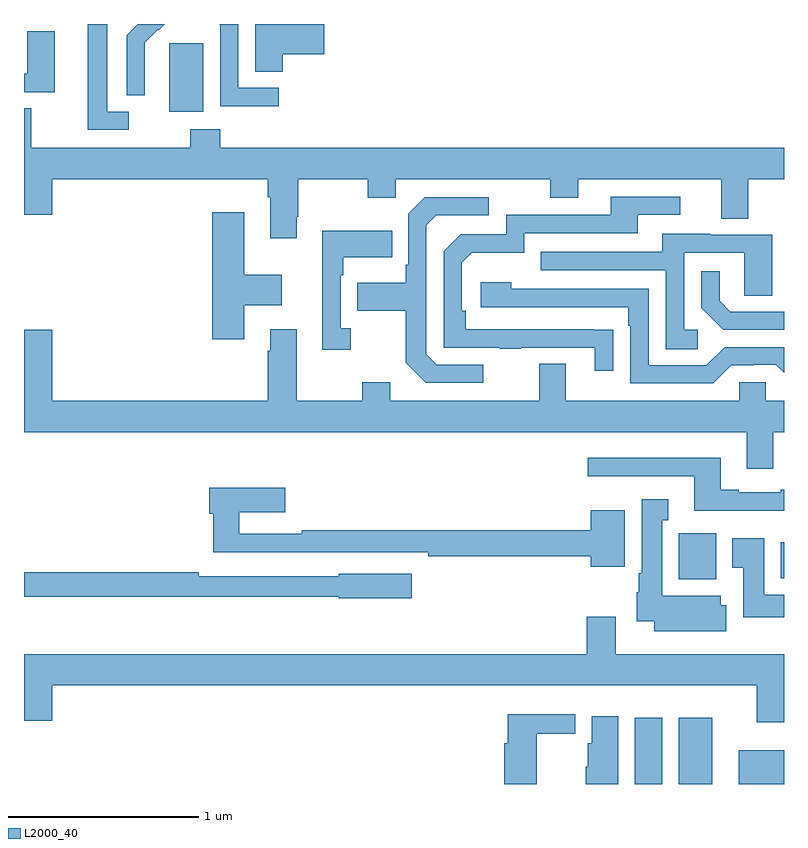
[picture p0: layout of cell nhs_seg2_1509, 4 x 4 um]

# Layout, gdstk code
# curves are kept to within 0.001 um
import gdstk
lib = gdstk.Library(unit=1e-6, precision=1e-09)
def R(c, l, rs):  # rectangles x0, y0, x1, y1
    for r in rs: c.add(gdstk.rectangle(r[:2], r[2:], *l))
def P(c, l, *ps):  # polygons
    for p in ps: c.add(gdstk.Polygon(p, *l))
L2000_40 = (2000, 40)

nhs_seg2_1509 = lib.new_cell('nhs_seg2_1509')
R(nhs_seg2_1509, L2000_40, [(192.215,629.8,192.358,630.148), (192.446,629.8,192.622,630.148), (192.761,629.8,193,629.977), (192.446,630.878,192.643,631.12), (192.983,630.884,193,631.072), (189.764,633.338,189.943,633.699)])
P(nhs_seg2_1509, L2000_40, [(189.55,633.339),(189.439,633.339),(189.439,633.8),(189.335,633.8),(189.335,633.243),(189.55,633.243)],
  [(190.342,633.465),(190.128,633.465),(190.128,633.8),(190.03,633.8),(190.03,633.796),(190.032,633.796),(190.032,633.367),(190.342,633.367)],
  [(189.636,633.578),(189.635,633.578),(189.635,633.701),(189.705,633.771),(189.708,633.768),(189.74,633.8),(189.598,633.8),(189.54,633.742),(189.54,633.424),(189.636,633.424)],
  [(190.361,633.641),(190.579,633.641),(190.579,633.8),(190.217,633.8),(190.217,633.55),(190.361,633.55)],
  [(189.163,633.761),(189.018,633.761),(189.018,633.537),(189,633.537),(189,633.441),(189.163,633.441)],
  [(190.435,632.785),(190.443,632.785),(190.443,632.984),(190.81,632.984),(190.81,632.885),(190.956,632.885),(190.956,632.984),(191.77,632.984),(191.77,632.885),(191.917,632.885),(191.917,632.984),(192.671,632.984),(192.671,632.776),(192.811,632.776),(192.811,632.984),(193,632.984),(193,633.148),(190.034,633.148),(190.034,633.247),(189.874,633.247),(189.874,633.148),(189.037,633.148),(189.037,633.356),(189,633.356),(189,632.796),(189.148,632.796),(189.148,632.984),(190.283,632.984),(190.283,632.888),(190.295,632.888),(190.295,632.673),(190.435,632.673)],
  [(192.101,632.192),(191.324,632.193),(191.324,632.29),(191.304,632.29),(191.304,632.544),(191.357,632.597),(191.634,632.597),(191.634,632.7),(192.229,632.7),(192.229,632.796),(192.454,632.796),(192.454,632.892),(192.089,632.892),(192.089,632.796),(191.538,632.796),(191.538,632.694),(191.298,632.694),(191.208,632.604),(191.208,632.097),(191.503,632.097),(191.503,632.092),(191.615,632.092),(191.615,632.097),(192.005,632.097),(192.005,631.974),(192.101,631.974)],
  [(191.416,632.007),(191.172,632.007),(191.118,632.061),(191.118,632.742),(191.169,632.793),(191.446,632.793),(191.446,632.889),(191.109,632.889),(191.022,632.802),(191.022,632.533),(191.01,632.533),(191.01,632.437),(190.753,632.437),(190.753,632.29),(191.01,632.29),(191.01,632.017),(191.115,631.911),(191.416,631.911)],
  [(190.159,632.321),(190.357,632.321),(190.357,632.479),(190.159,632.479),(190.159,632.809),(189.992,632.809),(189.992,632.142),(190.159,632.142)],
  [(190.72,632.198),(190.668,632.198),(190.668,632.477),(190.681,632.477),(190.681,632.573),(190.937,632.573),(190.937,632.713),(190.571,632.713),(190.571,632.085),(190.72,632.085)],
  [(192.547,632.19),(192.474,632.19),(192.474,632.595),(192.792,632.595),(192.792,632.371),(192.937,632.371),(192.937,632.691),(192.613,632.691),(192.613,632.695),(192.359,632.695),(192.359,632.601),(191.719,632.601),(191.719,632.505),(192.378,632.505),(192.378,632.089),(192.547,632.089)],
  [(193,632.286),(192.718,632.286),(192.661,632.343),(192.661,632.5),(192.564,632.5),(192.564,632.306),(192.68,632.19),(193,632.19)],
  [(192.723,632.004),(192.842,632.004),(192.842,632.007),(192.957,632.007),(193,631.964),(193,632.1),(192.687,632.1),(192.591,632.004),(192.288,632.004),(192.288,632.406),(191.564,632.406),(191.564,632.44),(191.403,632.44),(191.403,632.31),(192.179,632.31),(192.179,632.213),(192.192,632.213),(192.192,631.908),(192.627,631.908)],
  [(192.943,631.652),(193,631.652),(193,631.816),(192.903,631.816),(192.903,631.914),(192.765,631.914),(192.765,631.816),(191.851,631.816),(191.851,632.011),(191.711,632.011),(191.711,631.816),(190.927,631.816),(190.927,631.915),(190.78,631.915),(190.78,631.816),(190.435,631.816),(190.435,632.194),(190.295,632.194),(190.295,632.081),(190.283,632.081),(190.283,631.816),(189.148,631.816),(189.148,632.191),(189,632.191),(189,631.652),(192.803,631.652),(192.803,631.458),(192.943,631.458)],
  [(193,631.348),(192.983,631.348),(192.983,631.335),(192.763,631.335),(192.763,631.348),(192.667,631.348),(192.667,631.516),(191.967,631.516),(191.967,631.419),(192.527,631.419),(192.527,631.238),(193,631.238)],
  [(192.163,631.24),(191.984,631.24),(191.984,631.136),(190.462,631.136),(190.462,631.116),(190.133,631.116),(190.133,631.229),(190.375,631.229),(190.375,631.359),(189.974,631.359),(189.974,631.222),(189.997,631.222),(189.997,631.02),(191.128,631.02),(191.128,631),(191.984,631),(191.984,630.944),(192.163,630.944)],
  [(192.697,630.74),(192.667,630.74),(192.667,630.79),(192.358,630.79),(192.358,631.187),(192.391,631.187),(192.391,631.3),(192.251,631.3),(192.251,630.91),(192.236,630.91),(192.236,630.81),(192.224,630.81),(192.224,630.656),(192.317,630.656),(192.317,630.605),(192.697,630.605)],
  [(193,630.796),(192.895,630.796),(192.895,631.093),(192.728,631.093),(192.728,630.937),(192.785,630.937),(192.785,630.678),(193,630.678)],
  [(191.041,630.907),(190.656,630.907),(190.656,630.894),(189.92,630.894),(189.92,630.914),(189,630.914),(189,630.786),(190.656,630.786),(190.656,630.778),(191.041,630.778)],
  [(193,630.484),(192.115,630.484),(192.115,630.679),(191.963,630.679),(191.963,630.484),(189,630.484),(189,630.132),(189.148,630.132),(189.148,630.32),(192.857,630.32),(192.857,630.126),(193,630.126)],
  [(191.698,630.064),(191.902,630.064),(191.902,630.166),(191.546,630.166),(191.546,630.015),(191.528,630.015),(191.528,629.8),(191.698,629.8)],
  [(192.127,630.157),(191.987,630.157),(191.987,630.015),(191.966,630.015),(191.966,629.892),(191.957,629.892),(191.957,629.8),(192.127,629.8)])

lib.write_gds('nhs_seg2_1509.gds')
